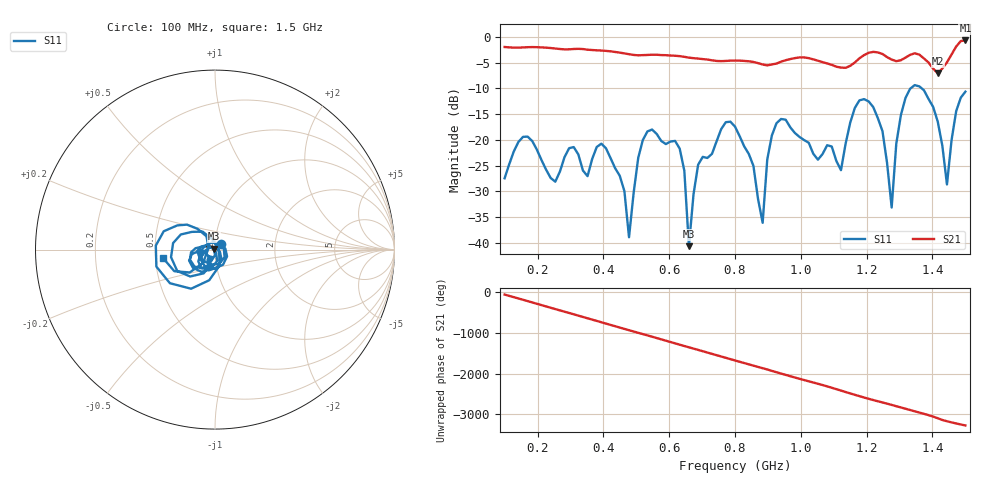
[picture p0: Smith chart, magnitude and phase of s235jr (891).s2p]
! NanoVNA-App
! Date: 2025-09-25 15:11:06
! Start: 100MHz Stop: 1,5GHz Points: 101
! S-Parameter data: F S11 S21 S12 S22
# Hz S RI R 50
!  Frequency  S11_Real  S11_Imag  S21_Real  S21_Imag  S12_Real  S12_Imag  S22_Real  S22_Imag
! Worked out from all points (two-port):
!   101 points, 100 MHz to 1.5 GHz, reference 50 ohm
!   highest |S21| = -0.69 dB at 1.5 GHz (marker M1); lowest = -7.1 dB at 1.416 GHz (marker M2)
!   |S21| within 3 dB of the highest: start of sweep to 623 MHz; 1.189 GHz to 1.257 GHz (67.89 MHz wide, 5.55 % of centre) (the widest 2 of 4)
!   lowest |S11| = -40.7 dB at 660 MHz (marker M3), VSWR 1.02, Z = 49.3 + j0.537 ohm
!   |S11| at or under -10 dB: start of sweep to 1.334 GHz; 1.367 GHz to end of sweep
!   S12 and S22 are empty: the file has one direction only
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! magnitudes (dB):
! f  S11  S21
! 100 MHz  -27.5  -2.0
! 156 MHz  -19.4  -2.0
! 338 MHz  -26.0  -2.4
! 408 MHz  -21.6  -2.7
! 478 MHz  -38.9  -3.4
! 520 MHz  -20.0  -3.5
! 576 MHz  -20.2  -3.5
! 632 MHz  -21.7  -3.7
! 660 MHz  -40.7  -4.0
! 688 MHz  -24.8  -4.2
! 800 MHz  -17.4  -4.6
! 884 MHz  -36.1  -5.4
! 926 MHz  -16.8  -5.2
! 1.038 GHz  -22.7  -4.4
! 1.122 GHz  -25.9  -6.0
! 1.206 GHz  -12.5  -3.1
! 1.276 GHz  -33.2  -4.4
! 1.29 GHz  -20.8  -4.7
! 1.332 GHz  -10.1  -3.5
! 1.416 GHz  -16.5  -7.1
! 1.444 GHz  -28.7  -4.9
! 1.5 GHz  -10.6  -0.7
